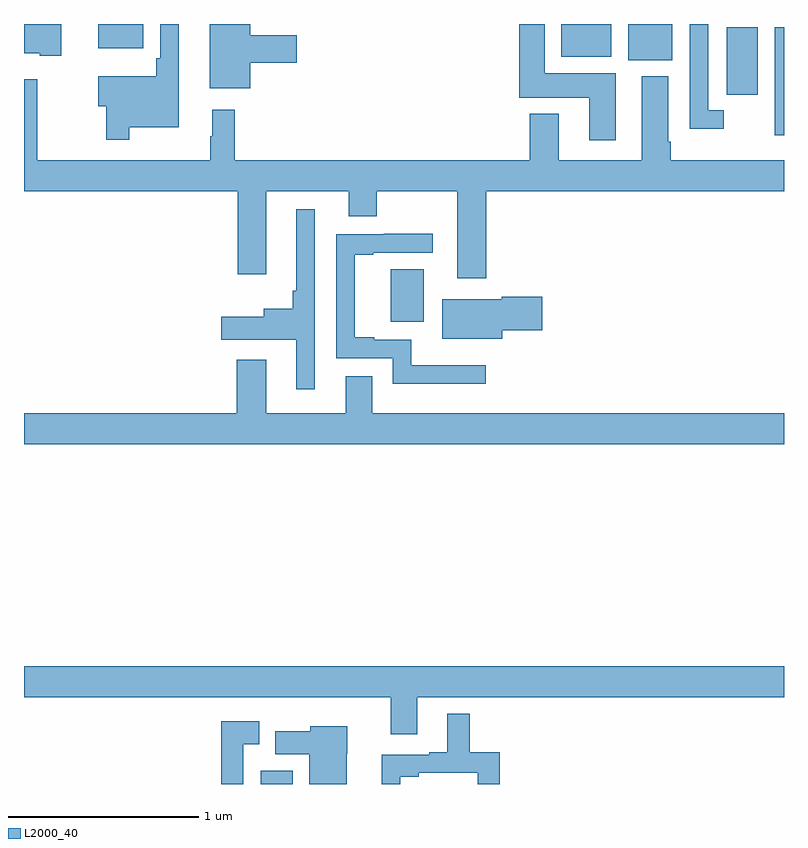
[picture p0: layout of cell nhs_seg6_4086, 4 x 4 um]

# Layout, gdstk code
import gdstk
lib = gdstk.Library(unit=1e-6, precision=1e-09)
def R(c, l, rs):  # rectangles x0, y0, x1, y1
    for r in rs: c.add(gdstk.rectangle(r[:2], r[2:], *l))
def P(c, l, *ps):  # polygons
    for p in ps: c.add(gdstk.Polygon(p, *l))
L2000_40 = (2000, 40)

nhs_seg6_4086 = lib.new_cell('nhs_seg6_4086')
R(nhs_seg6_4086, L2000_40, [(352.247,993.5,352.414,993.571), (352.931,995.933,353.104,996.208), (354.95,996.915,355,997.484), (354.698,997.128,354.862,997.484), (354.179,997.31,354.412,997.5), (353.828,997.328,354.091,997.5), (351.392,997.373,351.628,997.5)])
P(nhs_seg6_4086, L2000_40, [(352.192,997.295),(352.435,997.295),(352.435,997.442),(352.192,997.442),(352.192,997.5),(351.977,997.5),(351.977,997.163),(352.192,997.163)],
  [(354.115,997.24),(353.74,997.24),(353.74,997.5),(353.606,997.5),(353.606,997.112),(353.975,997.112),(353.975,996.888),(354.115,996.888)],
  [(351.196,997.5),(351,997.5),(351,997.346),(351.083,997.346),(351.083,997.334),(351.196,997.334)],
  [(351.553,996.956),(351.814,996.956),(351.814,997.5),(351.717,997.5),(351.717,997.321),(351.697,997.321),(351.697,997.225),(351.39,997.225),(351.39,997.067),(351.432,997.067),(351.432,996.891),(351.553,996.891)],
  [(354.682,997.047),(354.6,997.047),(354.6,997.5),(354.504,997.5),(354.504,996.95),(354.682,996.95)],
  [(355,996.784),(354.404,996.784),(354.404,996.88),(354.391,996.88),(354.391,997.225),(354.251,997.225),(354.251,996.784),(353.815,996.784),(353.815,997.027),(353.663,997.027),(353.663,996.784),(352.109,996.784),(352.109,997.048),(351.992,997.048),(351.992,996.908),(351.981,996.908),(351.981,996.784),(351.069,996.784),(351.069,997.21),(351,997.21),(351,996.62),(352.124,996.62),(352.124,996.183),(352.276,996.183),(352.276,996.62),(352.709,996.62),(352.709,996.489),(352.857,996.489),(352.857,996.62),(353.279,996.62),(353.279,996.162),(353.432,996.162),(353.432,996.62),(355,996.62)],
  [(352.53,996.526),(352.433,996.526),(352.433,996.097),(352.414,996.097),(352.414,996.001),(352.262,996.001),(352.262,995.959),(352.038,995.959),(352.038,995.837),(352.433,995.837),(352.433,995.577),(352.53,995.577)],
  [(353.431,995.704),(353.038,995.704),(353.038,995.838),(352.844,995.838),(352.844,995.851),(352.742,995.851),(352.742,996.285),(352.837,996.285),(352.837,996.297),(353.152,996.297),(353.152,996.396),(352.893,996.396),(352.893,996.393),(352.644,996.393),(352.644,995.742),(352.941,995.742),(352.941,995.606),(353.431,995.606)],
  [(353.518,995.887),(353.728,995.887),(353.728,996.065),(353.515,996.065),(353.515,996.052),(353.201,996.052),(353.201,995.843),(353.518,995.843)],
  [(355,995.452),(352.834,995.452),(352.834,995.647),(352.694,995.647),(352.694,995.452),(352.276,995.452),(352.276,995.734),(352.121,995.734),(352.121,995.452),(351,995.452),(351,995.288),(355,995.288)],
  [(353.071,993.956),(355,993.956),(355,994.12),(351,994.12),(351,993.956),(352.931,993.956),(352.931,993.762),(353.071,993.762)],
  [(352.98,993.538),(353.077,993.538),(353.077,993.558),(353.388,993.558),(353.388,993.5),(353.504,993.5),(353.504,993.667),(353.345,993.667),(353.345,993.871),(353.228,993.871),(353.228,993.667),(353.132,993.667),(353.132,993.654),(352.883,993.654),(352.883,993.5),(352.98,993.5)],
  [(352.155,993.71),(352.238,993.71),(352.238,993.829),(352.039,993.829),(352.039,993.5),(352.155,993.5)],
  [(352.699,993.66),(352.702,993.66),(352.702,993.805),(352.506,993.805),(352.506,993.778),(352.323,993.778),(352.323,993.656),(352.502,993.656),(352.502,993.5),(352.699,993.5)])

lib.write_gds('nhs_seg6_4086.gds')
